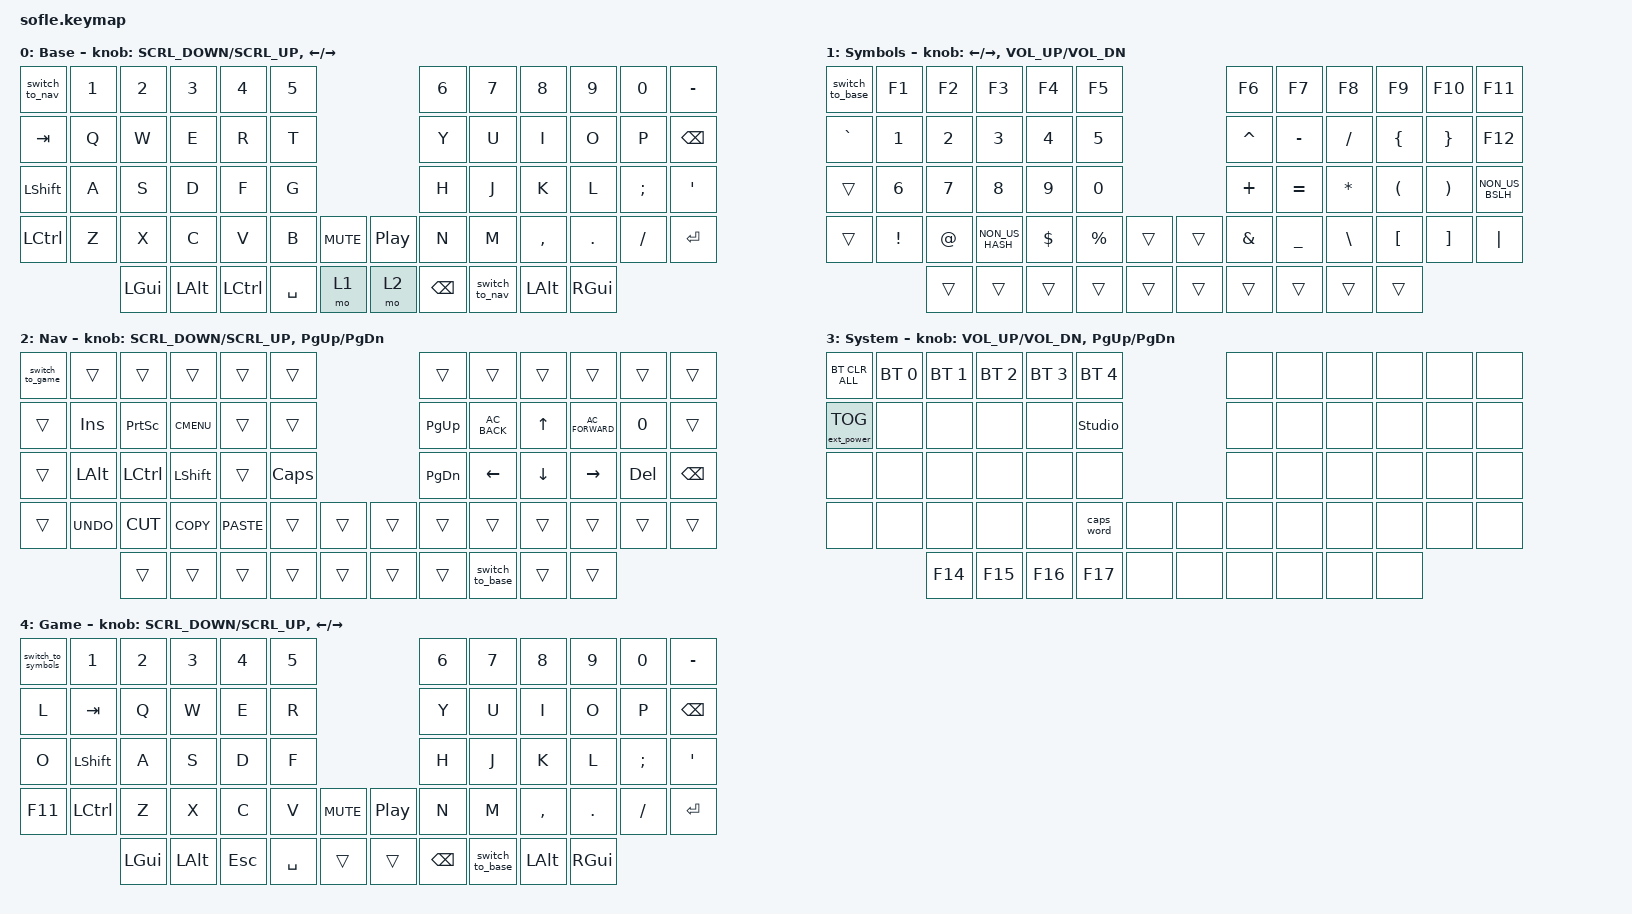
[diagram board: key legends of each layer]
/*
 * Copyright (c) 2020 The ZMK Contributors
 *
 * SPDX-License-Identifier: MIT
 */

#define ZMK_POINTING_DEFAULT_SCRL_VAL 70    // default: 10

#include <behaviors.dtsi>
#include <dt-bindings/zmk/bt.h>
#include <dt-bindings/zmk/ext_power.h>
#include <dt-bindings/zmk/keys.h>
#include <dt-bindings/zmk/pointing.h>

// Encoders

&sensors { triggers-per-rotation = <30>; };

&left_encoder { steps = <60>; };

&right_encoder { steps = <60>; };

#define BASE 0
#define LOWER 1
#define RAISE 2
#define ADJUST 3

/ {
    // Activate ADJUST layer by pressing raise and lower

    conditional_layers {
        compatible = "zmk,conditional-layers";

        adjust_layer {
            if-layers = <1 2>;
            then-layer = <3>;
        };
    };

    combos {
        compatible = "zmk,combos";

        esc {
            bindings = <&kp ESCAPE>;
            key-positions = <25 41>;
        };
    };

    behaviors {
        caps: caps {
            compatible = "zmk,behavior-caps-word";
            label = "CAPS";
            #binding-cells = <0>;
            continue-list = <POUND MINUS BACKSPACE UNDERSCORE>;
        };

        scroll_encoder: sensor_rotate_kp {
            compatible = "zmk,behavior-sensor-rotate-var";
            #sensor-binding-cells = <2>;
            bindings = <&msc>, <&msc>;

            tap-ms = <30>;
        };
    };

    macros {
        switch_to_base: move_layer {
            compatible = "zmk,behavior-macro";
            #binding-cells = <0>;
            bindings = <&kp F14 &to 0>;
            label = "MOVE_LAYER";
        };

        switch_to_nav: switch_to_nav {
            compatible = "zmk,behavior-macro";
            #binding-cells = <0>;
            bindings = <&kp F15 &to 2>;
            label = "SWITCH_TO_NAV";
        };

        switch_to_game: switch_to_game {
            compatible = "zmk,behavior-macro";
            #binding-cells = <0>;
            bindings = <&kp F17 &to 4>;
            label = "SWITCH_TO_GAME";
        };

        switch_to_symbols: switch_to_symbols {
            compatible = "zmk,behavior-macro";
            #binding-cells = <0>;
            bindings = <&kp F16 &to 1>;
            label = "SWITCH_TO_SYMBOLS";
        };
    };

    keymap {
        compatible = "zmk,keymap";

        default_layer {
            display-name = "Base";

            // ------------------------------------------------------------------------------------------------------------
            // |   `   |  1  |  2  |  3   |  4   |  5   |                   |  6   |  7    |  8    |  9   |   0   |       |
            // |  ESC  |  Q  |  W  |  E   |  R   |  T   |                   |  Y   |  U    |  I    |  O   |   P   | BKSPC |
            // |  TAB  |  A  |  S  |  D   |  F   |  G   |                   |  H   |  J    |  K    |  L   |   ;   |   '   |
            // | SHIFT |  Z  |  X  |  C   |  V   |  B   |  MUTE  |  |       |  N   |  M    |  ,    |  .   |   /   | SHIFT |
            //               | GUI | ALT  | CTRL | LOWER|  ENTER |  | SPACE | RAISE| CTRL  | ALT   | GUI  |

            bindings = <
&switch_to_nav    &kp N1  &kp N2    &kp N3    &kp N4     &kp N5                                     &kp N6         &kp N7          &kp N8     &kp N9    &kp N0    &kp MINUS
&kp TAB           &kp Q   &kp W     &kp E     &kp R      &kp T                                      &kp Y          &kp U           &kp I      &kp O     &kp P     &kp BSPC
&kp LEFT_SHIFT    &kp A   &kp S     &kp D     &kp F      &kp G                                      &kp H          &kp J           &kp K      &kp L     &kp SEMI  &kp SQT
&kp LEFT_CONTROL  &kp Z   &kp X     &kp C     &kp V      &kp B      &kp C_MUTE    &kp C_PLAY_PAUSE  &kp N          &kp M           &kp COMMA  &kp DOT   &kp FSLH  &kp ENTER
                          &kp LGUI  &kp LALT  &kp LCTRL  &kp SPACE  &mo 1         &mo 2             &kp BACKSPACE  &switch_to_nav  &kp LALT   &kp RGUI
            >;

            sensor-bindings =
                <&scroll_encoder SCRL_DOWN SCRL_UP>,
                <&inc_dec_kp LEFT RIGHT>;
        };

        lower_layer {
            display-name = "Symbols";

            // TODO: Some binds are waiting for shifted keycode support.
            // ------------------------------------------------------------------------------------------------------------
            // |       |  F1 |  F2 |  F3  |  F4  |  F5  |                   |  F6  |  F7   |  F8   |  F9  |  F10  |  F11  |
            // |   `   |  1  |  2  |  3   |  4   |  5   |                   |  6   |  7    |  8    |  9   |   0   |  F12  |
            // |       |  !  |  @  |  #   |  $   |  %   |                   |  ^   |  &    |  *    |  (   |   )   |   |   |
            // |       |  =  |  -  |  +   |  {   |  }   |        |  |       |  [   |  ]    |  ;    |  :   |   \   |       |
            //               |     |      |      |      |        |  |       |      |       |       |      |

            bindings = <
&switch_to_base  &kp F1           &kp F2       &kp F3           &kp F4      &kp F5                         &kp F6     &kp F7     &kp F8         &kp F9                &kp F10                &kp F11
&kp GRAVE        &kp N1           &kp N2       &kp N3           &kp N4      &kp N5                         &kp CARET  &kp MINUS  &kp SLASH      &kp LEFT_BRACE        &kp RIGHT_BRACE        &kp F12
&trans           &kp NUMBER_6     &kp N7       &kp N8           &kp N9      &kp N0                         &kp PLUS   &kp EQUAL  &kp ASTRK      &kp LEFT_PARENTHESIS  &kp RIGHT_PARENTHESIS  &kp NON_US_BSLH
&trans           &kp EXCLAMATION  &kp AT_SIGN  &kp NON_US_HASH  &kp DOLLAR  &kp PERCENT  &trans    &trans  &kp AMPS   &kp UNDER  &kp BACKSLASH  &kp LEFT_BRACKET      &kp RIGHT_BRACKET      &kp PIPE
                                  &trans       &trans           &trans      &trans       &trans    &trans  &trans     &trans     &trans         &trans
            >;

            sensor-bindings =
                <&inc_dec_kp LEFT_ARROW RIGHT_ARROW>,
                <&inc_dec_kp C_VOL_UP C_VOL_DN>;
        };

        raise_layer {
            display-name = "Nav";

            // ------------------------------------------------------------------------------------------------------------
            // | BTCLR | BT1  | BT2  |  BT3  |  BT4  |  BT5 |                |      |      |       |      |       |       |
            // |       | INS  | PSCR | GUI   |       |      |                | PGUP |      |   ^   |      |       |       |
            // |       | ALT  | CTRL | SHIFT |       | CAPS |                | PGDN |   <- |   v   |  ->  |  DEL  | BKSPC |
            // |       | UNDO | CUT  | COPY  | PASTE |      |      |  |      |      |      |       |      |       |       |
            //                |      |       |       |      |      |  |      |      |      |       |      |

            bindings = <
&switch_to_game  &trans      &trans     &trans       &trans       &trans                      &trans     &trans           &trans    &trans            &trans   &trans
&trans           &kp INS     &kp PSCRN  &kp K_CMENU  &trans       &trans                      &kp PG_UP  &kp C_AC_BACK    &kp UP    &kp C_AC_FORWARD  &kp N0   &trans
&trans           &kp LALT    &kp LCTRL  &kp LSHFT    &trans       &kp CLCK                    &kp PG_DN  &kp LEFT         &kp DOWN  &kp RIGHT         &kp DEL  &kp BSPC
&trans           &kp K_UNDO  &kp K_CUT  &kp K_COPY   &kp K_PASTE  &trans    &trans    &trans  &trans     &trans           &trans    &trans            &trans   &trans
                             &trans     &trans       &trans       &trans    &trans    &trans  &trans     &switch_to_base  &trans    &trans
            >;

            sensor-bindings =
                <&scroll_encoder SCRL_DOWN SCRL_UP>,
                <&inc_dec_kp PG_UP PG_DN>;
        };

        adjust_layer {
            // ----------------------------------------------------------------------------------------------------------------------------
            // | BTCLR  |  BT1    |  BT2    |   BT3   |   BT4   |   BT5   |                  |      |      |       |      |       |       |
            // | EXTPWR | RGB_HUD | RGB_HUI | RGB_SAD | RGB_SAI | RGB_EFF |                  |      |      |       |      |       |       |
            // |        | RGB_BRD | RGB_BRI |         |         |         |                  |      |      |       |      |       |       |
            // |        |         |         |         |         |         | RGB_TOG | |      |      |      |       |      |       |       |
            //                    |         |         |         |         |         | |      |      |      |       |      |

            display-name = "System";
            bindings = <
&bt BT_CLR_ALL     &bt BT_SEL 0  &bt BT_SEL 1  &bt BT_SEL 2  &bt BT_SEL 3  &bt BT_SEL 4                    &none  &none  &none  &none  &none  &none
&ext_power EP_TOG  &none         &none         &none         &none         &studio_unlock                  &none  &none  &none  &none  &none  &none
&none              &none         &none         &none         &none         &none                           &none  &none  &none  &none  &none  &none
&none              &none         &none         &none         &none         &caps_word      &none    &none  &none  &none  &none  &none  &none  &none
                                 &kp F14       &kp F15       &kp F16       &kp F17         &none    &none  &none  &none  &none  &none
            >;

            sensor-bindings = <&inc_dec_kp C_VOL_UP C_VOL_DN &inc_dec_kp PG_UP PG_DN>;
        };

        game_layer {
            display-name = "Game";
            bindings = <
&switch_to_symbols  &kp N1            &kp N2    &kp N3    &kp N4   &kp N5                                     &kp N6         &kp N7           &kp N8     &kp N9    &kp N0    &kp MINUS
&kp L               &kp TAB           &kp Q     &kp W     &kp E    &kp R                                      &kp Y          &kp U            &kp I      &kp O     &kp P     &kp BSPC
&kp O               &kp LEFT_SHIFT    &kp A     &kp S     &kp D    &kp F                                      &kp H          &kp J            &kp K      &kp L     &kp SEMI  &kp SQT
&kp F11             &kp LEFT_CONTROL  &kp Z     &kp X     &kp C    &kp V      &kp C_MUTE    &kp C_PLAY_PAUSE  &kp N          &kp M            &kp COMMA  &kp DOT   &kp FSLH  &kp ENTER
                                      &kp LGUI  &kp LALT  &kp ESC  &kp SPACE  &trans        &trans            &kp BACKSPACE  &switch_to_base  &kp LALT   &kp RGUI
            >;

            sensor-bindings =
                <&scroll_encoder SCRL_DOWN SCRL_UP>,
                <&inc_dec_kp LEFT RIGHT>;
        };
    };
};
